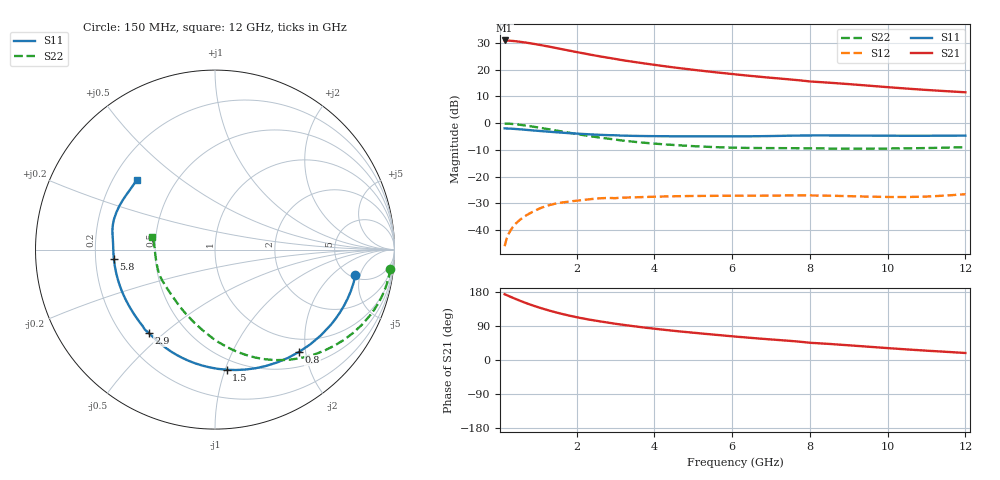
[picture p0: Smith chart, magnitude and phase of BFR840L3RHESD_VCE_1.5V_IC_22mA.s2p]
! Infineon Technologies  Discrete & RF Semiconductors
! BFR840L3RHESD
! VCE =  1.5 V,  IC =  22 mA
! Common Emitter S-Parameters:  Jun 2012
# GHz  S  MA  R  50
!  f  S11  S21  S12  S22
! GHz  MAG  ANG  MAG  ANG  MAG  ANG  MAG  ANG
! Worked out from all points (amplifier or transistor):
!   91 points, 150 MHz to 12 GHz, reference 50 ohm
!   highest |S21| = 30.9 dB at 150 MHz (marker M1)
!   |S21| within 3 dB of that: start of sweep to 1.535 GHz
!   unconditionally stable (mu >= 1): 7.108 GHz to end of sweep
!   at 1.3 GHz: K = 0.20, MSG = 29.6 dB, |S12| = -30.7 dB
!   at 4.3 GHz: K = 0.60, MSG = 24.3 dB, |S12| = -27.4 dB
!   at 12 GHz: K = 1.78, MAG = 13.9 dB, |S12| = -26.6 dB
!   S11 on the Smith chart (normalised r, x): 150 MHz: 5.44, -4.22; 800 MHz: 0.75, -1.88; 1.5 GHz: 0.41, -1.01; 2.9 GHz: 0.31, -0.44; 5.8 GHz: 0.28, -0.04; 12 GHz: 0.30, +0.35
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0.15  0.7955 -10.3  35.1 173.6  0.005 83.9  0.9826 -6.3
0.3  0.7878 -20.3  34.65 166.9  0.0098 76.4  0.9708 -13.8
0.5  0.7696 -33.0  33.47 158.3  0.0146 72.0  0.9391 -22.9
0.6  0.7591 -39.0  32.75 154.2  0.0167 69.3  0.9193 -27.1
0.8  0.7379 -50.5  31.16 146.6  0.0206 63.3  0.8763 -35.1
0.9  0.7276 -56.0  30.31 143.0  0.0225 60.3  0.8539 -38.8
1.1  0.7079 -66.3  28.58 136.5  0.0262 55.0  0.809 -45.9
1.3  0.6896 -75.7  26.83 130.4  0.0292 50.7  0.7649 -52.4
1.5  0.6726 -84.5  25.14 124.9  0.0316 47.2  0.7224 -58.4
1.8  0.6497 -96.4  22.77 117.4  0.034 42.8  0.6627 -66.7
2.2  0.6243 -110.1  20.01 109.0  0.0367 37.6  0.5927 -76.3
2.5  0.6085 -118.7  18.23 103.7  0.0387 34.5  0.5491 -82.6
2.9  0.5935 -128.6  16.29 97.2  0.0397 32.2  0.5028 -90.1
3.5  0.5766 -141.6  13.85 88.8  0.041 28.5  0.446 -100.4
4.2  0.569 -153.5  11.75 80.3  0.0424 25.8  0.4035 -111.0
4.9  0.5661 -163.7  10.13 73.0  0.0433 24.4  0.3744 -121.0
5.8  0.5658 -174.7  8.57 64.4  0.0438 23.1  0.3512 -132.9
6.1  0.5661 -177.9  8.135 61.7  0.0439 22.8  0.3467 -136.6
8  0.5876 163.0  6.009 45.5  0.0444 22.3  0.3368 -161.0
8.5  0.5874 159.3  5.695 42.4  0.0439 22.3  0.3348 -165.3
10.5  0.5793 145.4  4.416 27.9  0.0415 28.2  0.3376 177.7
12  0.5836 138.3  3.77 18.5  0.0468 35.5  0.3548 169.0
